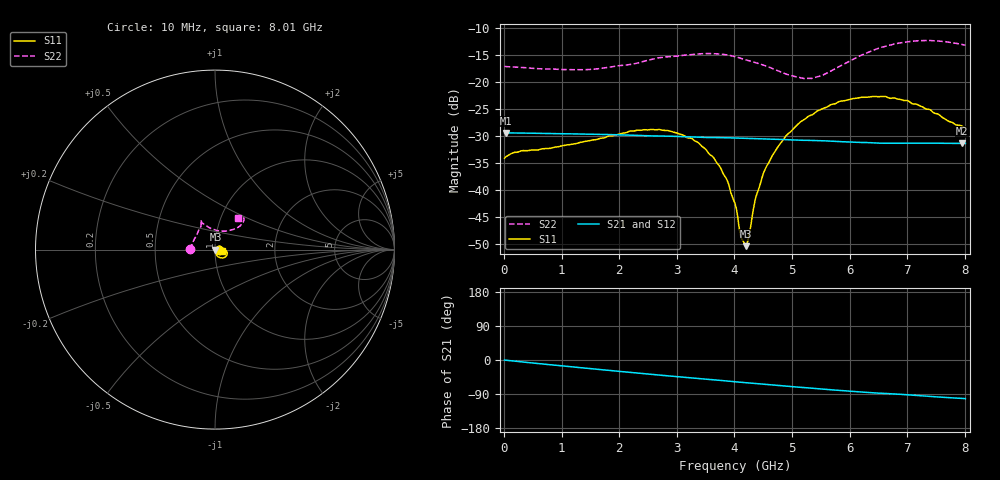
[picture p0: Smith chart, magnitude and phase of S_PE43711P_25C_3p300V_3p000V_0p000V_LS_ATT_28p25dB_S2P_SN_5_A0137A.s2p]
! Device ID: PE43711P
! File Path: z:\PE43711P\CHAR_NOM_04282014\AMB\3p300\LS_ATT_28p25dB\PE43711P_AMB_3p300V_3p000V_0p000V_LS_ATT_28p25dB_S2P_SN_5_A0137A.s2p
! Serial: 5
! Lot: A0137A
! Temp: 25C
! VDD: 3.300
! VSS: 0.000
! Control_Hi: 3.000
! Control_Lo: 0.000
! Attenuation Step: 28.25dB
! Port 1: RF1
! Port 2: RF2
! ThroughPath:1-2
! IDD: 0.0001276864
! ISS: -8.97e-008
#  Hz  S  RI  R  50
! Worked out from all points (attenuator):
!   801 points, 10 MHz to 8.01 GHz, reference 50 ohm
!   highest |S21| = -29.49 dB at 40 MHz (marker M1); lowest = -31.4 dB at 7.95 GHz (marker M2)
!   lowest |S11| = -50.4 dB at 4.2 GHz (marker M3), VSWR 1.01, Z = 50.3 - j0.123 ohm
!   |S11| at or under -10 dB: start of sweep to end of sweep
!   |S22| runs from -19.4 to -12.4 dB; largest |S21 - S12| = 0.0001
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1e7  0.0196 0.000552  0.0335 -0.000108  0.0336 -0.000142  -0.1383 0.000961
4e7  0.0203 0.00112  0.0335 -0.000388  0.0335 -0.000387  -0.1375 0.00283
1.35e9  0.0266 0.00715  0.0306 -0.0115  0.0307 -0.0115  -0.1105 0.0655
2.2e9  0.0326 0.0125  0.0268 -0.0174  0.0268 -0.0174  -0.084 0.1171
2.68e9  0.0319 0.0167  0.0242 -0.02  0.0242 -0.02  -0.0774 0.1465
3.25e9  0.0235 0.0184  0.0207 -0.0226  0.0208 -0.0226  -0.0744 0.1612
3.49e9  0.0173 0.0167  0.0194 -0.0234  0.0194 -0.0235  -0.0759 0.1646
3.76e9  0.0102 0.0122  0.0179 -0.0245  0.0178 -0.0245  -0.077 0.1623
3.88e9  0.0075 0.00939  0.0171 -0.0249  0.017 -0.0249  -0.0764 0.1586
4.01e9  0.00517 0.00541  0.0162 -0.0253  0.0162 -0.0254  -0.0743 0.1529
4.12e9  0.00336 0.00118  0.0155 -0.0256  0.0155 -0.0256  -0.0698 0.1475
4.2e9  0.00274 -0.00122  0.0149 -0.0258  0.0149 -0.0258  -0.0659 0.1444
4.25e9  0.00218 -0.00299  0.0146 -0.026  0.0146 -0.0259  -0.0632 0.1428
4.38e9  0.00171 -0.00864  0.0138 -0.0262  0.0138 -0.0262  -0.0563 0.138
4.55e9  0.00273 -0.0159  0.0127 -0.0267  0.0127 -0.0266  -0.046 0.1313
4.9e9  0.00867 -0.0305  0.0104 -0.0271  0.0104 -0.0271  -0.0183 0.1157
5.35e9  0.0242 -0.043  0.00765 -0.0275  0.00766 -0.0275  0.0292 0.1031
5.84e9  0.0473 -0.0458  0.00459 -0.0275  0.00459 -0.0275  0.0881 0.1084
6.68e9  0.0673 -0.0214  0.000574 -0.0269  0.000599 -0.0269  0.1551 0.1509
7.3e9  0.0565 -0.00437  -0.00237 -0.0269  -0.00233 -0.0268  0.1579 0.1807
7.95e9  0.0384 -0.00484  -0.00529 -0.0263  -0.00533 -0.0263  0.1319 0.1765
8.01e9  0.0368 -0.00647  -0.00555 -0.0262  -0.0056 -0.0263  0.1298 0.1734
